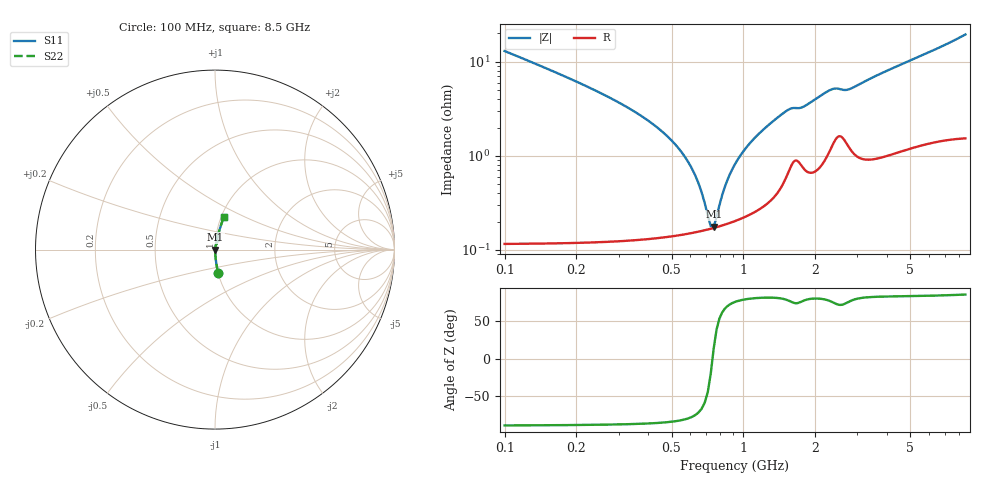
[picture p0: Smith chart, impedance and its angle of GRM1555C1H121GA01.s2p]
!Murata Part Number: GRM1555C1H121GA01
!These Parameters are Measured in Series Mode Connection
!Data Generated on Mar 30, 2021
!  o--ll--o
!Port1  Port2
!  o------o
!Operation Temp=25[degC], DC Bias Voltage=0[V]
!Freq. Start=100[MHz] Stop=9[GHz] 401[Steps]
# Hz S RI R 50
!Freq.(Hz) S11(Real) S11(Imag) S21(Real) S21(Imag) S12(Real) S12(Imag) S22(Real) S22(Imag)
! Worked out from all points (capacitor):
!   401 points, 100 MHz to 8.5 GHz, reference 50 ohm
!   read as one part in series: C = 120 pF near 142 MHz
!   lowest |Z| = 176 mohm at 751 MHz (marker M1)
!   series resonance near 742.4 MHz, so ESL is about 380 pH
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1e8  0.0178 -0.1278  0.9822 0.1278  0.9822 0.1278  0.0178 -0.1278
2.47e8  0.00348 -0.0476  0.9965 0.0476  0.9965 0.0476  0.00348 -0.0476
5.41e8  0.00157 -0.0115  0.9984 0.0115  0.9984 0.0115  0.00157 -0.0115
6.25e8  0.00157 -0.00619  0.9984 0.00619  0.9984 0.00619  0.00157 -0.00619
7.09e8  0.00165 -0.00165  0.9983 0.00165  0.9983 0.00165  0.00165 -0.00165
7.3e8  0.00168 -0.000601  0.9983 0.000601  0.9983 0.000601  0.00168 -0.000601
7.51e8  0.00171 0.000418  0.9983 -0.000418  0.9983 -0.000418  0.00171 0.000418
7.72e8  0.00175 0.00141  0.9983 -0.00141  0.9983 -0.00141  0.00175 0.00141
8.35e8  0.00187 0.00424  0.9981 -0.00424  0.9981 -0.00424  0.00187 0.00424
8.77e8  0.00197 0.00604  0.998 -0.00604  0.998 -0.00604  0.00197 0.00604
9.4e8  0.00214 0.00861  0.9979 -0.00861  0.9979 -0.00861  0.00214 0.00861
1.003e9  0.00233 0.0111  0.9977 -0.0111  0.9977 -0.0111  0.00233 0.0111
1.213e9  0.00324 0.0188  0.9968 -0.0188  0.9968 -0.0188  0.00324 0.0188
1.507e9  0.00666 0.0289  0.9933 -0.0289  0.9933 -0.0289  0.00666 0.0289
1.78e9  0.0084 0.0319  0.9916 -0.0319  0.9916 -0.0319  0.0084 0.0319
2.326e9  0.0142 0.0479  0.9858 -0.0479  0.9858 -0.0479  0.0142 0.0479
2.683e9  0.016 0.0468  0.984 -0.0468  0.984 -0.0468  0.016 0.0468
2.914e9  0.013 0.0518  0.987 -0.0518  0.987 -0.0518  0.013 0.0518
4.3e9  0.0177 0.0844  0.9823 -0.0844  0.9823 -0.0844  0.0177 0.0844
5.707e9  0.0264 0.1144  0.9736 -0.1144  0.9736 -0.1144  0.0264 0.1144
7.114e9  0.0367 0.1464  0.9633 -0.1464  0.9633 -0.1464  0.0367 0.1464
8.5e9  0.05 0.1821  0.95 -0.1821  0.95 -0.1821  0.05 0.1821
